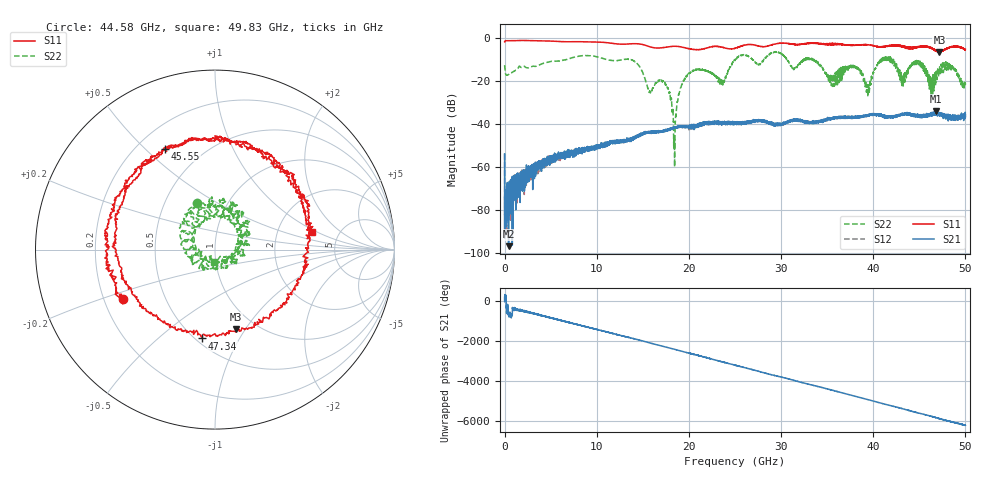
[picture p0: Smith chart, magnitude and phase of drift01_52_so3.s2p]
!Created with skrf (http://scikit-rf.org).
# Hz S RI R 50.0
!freq ReS11 ImS11 ReS21 ImS21 ReS12 ImS12 ReS22 ImS22
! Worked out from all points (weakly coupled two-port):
!   10001 points, 300 kHz to 50 GHz, reference 50 ohm
!   highest |S21| = -34.30 dB at 46.82 GHz (marker M1); lowest = -96.8 dB at 430.3 MHz (marker M2)
!   lowest |S11| = -6.8 dB at 47.18 GHz (marker M3), VSWR 2.69, Z = 40.7 - j45.4 ohm
!   |S11| at or under -10 dB: nowhere
!   |S22| runs from -60.0 to -6.5 dB; largest |S21 - S12| = 0.0047
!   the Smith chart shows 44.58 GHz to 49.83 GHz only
!   S11 on the Smith chart (normalised r, x): 44.58 GHz: 0.28, -0.23; 45.55 GHz: 0.31, +0.58; 47.34 GHz: 0.54, -0.71; 49.83 GHz: 3.18, +0.90
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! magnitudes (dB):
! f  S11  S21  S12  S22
! 300 kHz  -2.1  -54.0  -54.1  -12.8
! 430.3 MHz  -1.4  -96.8  -78.8  -17.1
! 8.335 GHz  -2.0  -53.7  -52.3  -8.5
! 16.67 GHz  -4.9  -43.8  -44.0  -20.0
! 17.73 GHz  -4.4  -42.6  -42.6  -23.5
! 18.42 GHz  -4.1  -42.2  -41.9  -46.5
! 19.91 GHz  -5.1  -41.7  -41.5  -17.2
! 23.59 GHz  -4.5  -39.4  -39.6  -19.8
! 25 GHz  -5.0  -39.2  -39.6  -10.5
! 33.34 GHz  -2.6  -39.0  -39.5  -9.8
! 35.55 GHz  -3.2  -37.8  -37.6  -17.3
! 38.15 GHz  -3.6  -37.1  -37.1  -14.0
! 39.35 GHz  -3.3  -36.2  -36.1  -22.1
! 41.67 GHz  -3.9  -36.4  -37.0  -9.6
! 43.18 GHz  -4.2  -35.4  -35.3  -17.6
! 44.58 GHz  -4.7  -36.3  -36.1  -11.2
! 45.55 GHz  -4.0  -36.3  -36.5  -13.5
! 46.82 GHz  -6.2  -34.3  -35.4  -16.1
! 47.18 GHz  -6.8  -35.5  -35.9  -13.5
! 47.34 GHz  -6.0  -35.6  -36.1  -12.6
! 49.83 GHz  -5.2  -36.1  -36.1  -22.9
! 50 GHz  -5.5  -36.8  -36.4  -22.0
